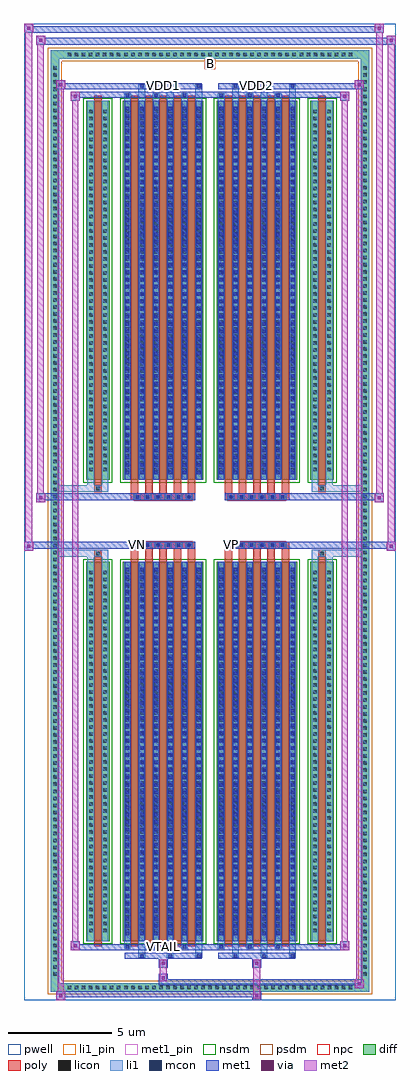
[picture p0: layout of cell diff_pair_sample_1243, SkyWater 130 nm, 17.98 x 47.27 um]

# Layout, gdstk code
import gdstk
lib = gdstk.Library(unit=1e-6, precision=5e-09)
def R(c, l, rs):  # rectangles x0, y0, x1, y1
    for r in rs: c.add(gdstk.rectangle(r[:2], r[2:], *l))
def A(c, l, x, y, w, h, nx, ny, dx, dy):  # array of equal rectangles
    R(c, l, [(x+i*dx, y+j*dy, x+i*dx+w, y+j*dy+h) for i in range(nx) for j in range(ny)])
def P(c, l, *ps):  # polygons
    for p in ps: c.add(gdstk.Polygon(p, *l))
pwell = (64, 44)
diff = (65, 20)
poly = (66, 20)
licon = (66, 44)
li1_pin = (67, 16)
li1 = (67, 20)
mcon = (67, 44)
met1_pin = (68, 16)
met1 = (68, 20)
via = (68, 44)
met2 = (69, 20)
nsdm = (93, 44)
psdm = (94, 20)
npc = (95, 20)

diff_pair_sample_1243 = lib.new_cell('diff_pair_sample_1243')
R(diff_pair_sample_1243, pwell, [(-8.99,-23.2,8.99,24.07), (-6.31,-21.39,-0.01,-0.805), (0.01,-21.39,6.31,-0.805), (-6.31,0.805,-0.01,21.39), (0.01,0.805,6.31,21.39)])
A(diff_pair_sample_1243, diff, -7.005, -22.8, 0.41, 0.41, 41, 2, 0.34, 45.19)
A(diff_pair_sample_1243, diff, -7.72, -22.135, 0.41, 0.41, 1, 130, 0, 0.34)
A(diff_pair_sample_1243, diff, 7.31, -22.135, 0.41, 0.41, 1, 130, 0, 0.34)
R(diff_pair_sample_1243, diff, [(-7.005,-22.8,7.005,-22.39), (-7.72,-22.135,-7.31,22.135), (7.31,-22.135,7.72,22.135), (-6,-20.345,-4.86,-1.985), (-4.22,-20.345,-0.32,-1.985), (0.32,-20.345,4.22,-1.985), (4.86,-20.345,6,-1.985), (-6,1.985,-4.86,20.345), (-4.22,1.985,-0.32,20.345), (0.32,1.985,4.22,20.345), (4.86,1.985,6,20.345), (-7.005,22.39,7.005,22.8)])
P(diff_pair_sample_1243, diff, [(7.72,22.8),(-7.72,22.8),(-7.72,-22.39),(-7.31,-22.39),(-7.31,22.39),(7.31,22.39),(7.31,-22.39),(-7.31,-22.39),(-7.72,-22.39),(-7.72,-22.8),(7.72,-22.8)])
A(diff_pair_sample_1243, poly, -3.83, -20.595, 0.36, 18.86, 5, 2, 0.69, 22.33)
A(diff_pair_sample_1243, poly, 0.71, -20.595, 0.36, 18.86, 5, 2, 0.69, 22.33)
A(diff_pair_sample_1243, poly, -3.83, -1.735, 0.36, 0.4, 5, 2, 0.69, 3.07)
A(diff_pair_sample_1243, poly, 0.71, -1.735, 0.36, 0.4, 5, 2, 0.69, 3.07)
A(diff_pair_sample_1243, poly, -3.685, -1.335, 0.33, 0.33, 6, 2, 0.5, 2.34)
A(diff_pair_sample_1243, poly, 0.855, -1.335, 0.33, 0.33, 6, 2, 0.5, 2.34)
R(diff_pair_sample_1243, poly, [(-5.61,-20.595,-5.25,-1.735), (5.25,-20.595,5.61,-1.735), (-5.595,-1.735,-5.265,-1.405), (-5.595,-1.735,-5.265,-1.405), (5.265,-1.735,5.595,-1.405), (5.265,-1.735,5.595,-1.405), (-3.83,-1.335,-0.71,-1.005), (0.71,-1.335,3.83,-1.005), (-3.83,1.005,-0.71,1.335), (0.71,1.005,3.83,1.335), (-5.595,1.405,-5.265,1.735), (-5.595,1.405,-5.265,1.735), (5.265,1.405,5.595,1.735), (5.265,1.405,5.595,1.735), (-5.61,1.735,-5.25,20.595), (5.25,1.735,5.61,20.595)])
A(diff_pair_sample_1243, licon, -6.885, -22.68, 0.17, 0.17, 41, 2, 0.34, 45.19)
A(diff_pair_sample_1243, licon, -7.6, -22.015, 0.17, 0.17, 1, 130, 0, 0.34)
A(diff_pair_sample_1243, licon, 7.43, -22.015, 0.17, 0.17, 1, 130, 0, 0.34)
A(diff_pair_sample_1243, licon, -5.86, -19.92, 0.17, 0.17, 1, 52, 0, 0.34)
A(diff_pair_sample_1243, licon, -5.17, -19.92, 0.17, 0.17, 1, 52, 0, 0.34)
A(diff_pair_sample_1243, licon, -4.08, -19.92, 0.17, 0.17, 6, 52, 0.69, 0.34)
A(diff_pair_sample_1243, licon, 0.46, -19.92, 0.17, 0.17, 6, 52, 0.69, 0.34)
A(diff_pair_sample_1243, licon, 5, -19.92, 0.17, 0.17, 1, 52, 0, 0.34)
A(diff_pair_sample_1243, licon, 5.69, -19.92, 0.17, 0.17, 1, 52, 0, 0.34)
A(diff_pair_sample_1243, licon, -3.605, -1.255, 0.17, 0.17, 6, 2, 0.5, 2.34)
A(diff_pair_sample_1243, licon, 0.935, -1.255, 0.17, 0.17, 6, 2, 0.5, 2.34)
A(diff_pair_sample_1243, licon, -5.86, 2.41, 0.17, 0.17, 1, 52, 0, 0.34)
A(diff_pair_sample_1243, licon, -5.17, 2.41, 0.17, 0.17, 1, 52, 0, 0.34)
A(diff_pair_sample_1243, licon, -4.08, 2.41, 0.17, 0.17, 6, 52, 0.69, 0.34)
A(diff_pair_sample_1243, licon, 0.46, 2.41, 0.17, 0.17, 6, 52, 0.69, 0.34)
A(diff_pair_sample_1243, licon, 5, 2.41, 0.17, 0.17, 1, 52, 0, 0.34)
A(diff_pair_sample_1243, licon, 5.69, 2.41, 0.17, 0.17, 1, 52, 0, 0.34)
R(diff_pair_sample_1243, licon, [(-5.515,-1.655,-5.345,-1.485), (5.345,-1.655,5.515,-1.485), (-5.515,1.485,-5.345,1.655), (5.345,1.485,5.515,1.655)])
R(diff_pair_sample_1243, li1_pin, [(-0.25,21.89,0.25,22.39)])
A(diff_pair_sample_1243, li1, -6.965, -22.76, 0.33, 0.33, 41, 2, 0.34, 45.19)
A(diff_pair_sample_1243, li1, -7.68, -22.095, 0.33, 0.33, 1, 130, 0, 0.34)
A(diff_pair_sample_1243, li1, 7.35, -22.095, 0.33, 0.33, 1, 130, 0, 0.34)
A(diff_pair_sample_1243, li1, -3.47, -21.15, 0.33, 0.805, 3, 2, 1.38, 41.495)
A(diff_pair_sample_1243, li1, -3.39, -21.15, 0.17, 0.17, 3, 2, 1.38, 42.13)
A(diff_pair_sample_1243, li1, 1.07, -21.15, 0.33, 0.805, 3, 2, 1.38, 41.495)
A(diff_pair_sample_1243, li1, 1.15, -21.15, 0.17, 0.17, 3, 2, 1.38, 42.13)
A(diff_pair_sample_1243, li1, -4.16, -20.72, 0.33, 0.375, 3, 2, 1.38, 41.065)
A(diff_pair_sample_1243, li1, -4.08, -20.72, 0.17, 0.17, 3, 2, 1.38, 41.27)
A(diff_pair_sample_1243, li1, 0.38, -20.72, 0.33, 0.375, 3, 2, 1.38, 41.065)
A(diff_pair_sample_1243, li1, 0.46, -20.72, 0.17, 0.17, 3, 2, 1.38, 41.27)
A(diff_pair_sample_1243, li1, -4.16, -20.345, 0.33, 18.36, 6, 2, 0.69, 22.33)
A(diff_pair_sample_1243, li1, 0.38, -20.345, 0.33, 18.36, 6, 2, 0.69, 22.33)
A(diff_pair_sample_1243, li1, -4.08, -20.07, 0.17, 0.17, 6, 50, 0.69, 0.36)
A(diff_pair_sample_1243, li1, -4.08, -20.07, 0.17, 17.81, 6, 2, 0.69, 22.33)
A(diff_pair_sample_1243, li1, 0.46, -20.07, 0.17, 0.17, 6, 50, 0.69, 0.36)
A(diff_pair_sample_1243, li1, 0.46, -20.07, 0.17, 17.81, 6, 2, 0.69, 22.33)
A(diff_pair_sample_1243, li1, -5.94, -20, 0.33, 0.33, 1, 52, 0, 0.34)
A(diff_pair_sample_1243, li1, -5.25, -20, 0.33, 0.33, 1, 52, 0, 0.34)
A(diff_pair_sample_1243, li1, -4.16, -20, 0.33, 0.33, 6, 52, 0.69, 0.34)
A(diff_pair_sample_1243, li1, 0.38, -20, 0.33, 0.33, 6, 52, 0.69, 0.34)
A(diff_pair_sample_1243, li1, 4.92, -20, 0.33, 0.33, 1, 52, 0, 0.34)
A(diff_pair_sample_1243, li1, 5.61, -20, 0.33, 0.33, 1, 52, 0, 0.34)
A(diff_pair_sample_1243, li1, -3.685, -1.335, 0.33, 0.33, 6, 2, 0.5, 2.34)
A(diff_pair_sample_1243, li1, 0.855, -1.335, 0.33, 0.33, 6, 2, 0.5, 2.34)
A(diff_pair_sample_1243, li1, -4.08, 2.26, 0.17, 0.17, 6, 50, 0.69, 0.36)
A(diff_pair_sample_1243, li1, 0.46, 2.26, 0.17, 0.17, 6, 50, 0.69, 0.36)
A(diff_pair_sample_1243, li1, -5.94, 2.33, 0.33, 0.33, 1, 52, 0, 0.34)
A(diff_pair_sample_1243, li1, -5.25, 2.33, 0.33, 0.33, 1, 52, 0, 0.34)
A(diff_pair_sample_1243, li1, -4.16, 2.33, 0.33, 0.33, 6, 52, 0.69, 0.34)
A(diff_pair_sample_1243, li1, 0.38, 2.33, 0.33, 0.33, 6, 52, 0.69, 0.34)
A(diff_pair_sample_1243, li1, 4.92, 2.33, 0.33, 0.33, 1, 52, 0, 0.34)
A(diff_pair_sample_1243, li1, 5.61, 2.33, 0.33, 0.33, 1, 52, 0, 0.34)
R(diff_pair_sample_1243, li1, [(-7.72,-22.8,-7.31,-22.39), (-7.72,-22.8,-7.31,-22.39), (-7.31,-22.8,7.31,-22.39), (7.31,-22.8,7.72,-22.39), (7.31,-22.8,7.72,-22.39), (-7.72,-22.39,-7.31,22.39), (7.31,-22.39,7.72,22.39), (-5.94,-20.345,-5.61,-1.985), (-5.25,-20.345,-4.92,-1.985), (4.92,-20.345,5.25,-1.985), (5.61,-20.345,5.94,-1.985), (-5.94,-1.985,-5.61,-1.405), (-5.25,-1.985,-4.92,-1.405), (4.92,-1.985,5.25,-1.405), (5.61,-1.985,5.94,-1.405), (-7.72,-1.735,-5.595,-1.405), (-5.94,-1.735,-5.595,-1.405), (-5.595,-1.735,-5.265,-1.405), (-5.265,-1.735,-4.92,-1.405), (4.92,-1.735,5.265,-1.405), (5.265,-1.735,5.595,-1.405), (5.265,-1.735,7.72,-1.405), (5.595,-1.735,5.94,-1.405), (-7.72,1.405,-5.595,1.735), (-5.94,1.405,-5.595,1.735), (-5.94,1.405,-5.61,1.985), (-5.595,1.405,-5.265,1.735), (-5.265,1.405,-4.92,1.735), (-5.25,1.405,-4.92,1.985), (4.92,1.405,5.265,1.735), (4.92,1.405,5.25,1.985), (5.265,1.405,5.595,1.735), (5.265,1.405,7.72,1.735), (5.595,1.405,5.94,1.735), (5.61,1.405,5.94,1.985), (-5.94,1.985,-5.61,20.345), (-5.25,1.985,-4.92,20.345), (4.92,1.985,5.25,20.345), (5.61,1.985,5.94,20.345), (-7.72,22.39,-7.31,22.8), (-7.72,22.39,-7.31,22.8), (-7.31,22.39,7.31,22.8), (7.31,22.39,7.72,22.8), (7.31,22.39,7.72,22.8)])
A(diff_pair_sample_1243, mcon, -3.39, -21.15, 0.17, 0.17, 3, 2, 1.38, 42.13)
A(diff_pair_sample_1243, mcon, 1.15, -21.15, 0.17, 0.17, 3, 2, 1.38, 42.13)
A(diff_pair_sample_1243, mcon, -4.08, -20.72, 0.17, 0.17, 3, 2, 1.38, 41.27)
A(diff_pair_sample_1243, mcon, 0.46, -20.72, 0.17, 0.17, 3, 2, 1.38, 41.27)
A(diff_pair_sample_1243, mcon, -4.08, -20.07, 0.17, 0.17, 6, 50, 0.69, 0.36)
A(diff_pair_sample_1243, mcon, 0.46, -20.07, 0.17, 0.17, 6, 50, 0.69, 0.36)
A(diff_pair_sample_1243, mcon, -3.605, -1.255, 0.17, 0.17, 6, 2, 0.5, 2.34)
A(diff_pair_sample_1243, mcon, 0.935, -1.255, 0.17, 0.17, 6, 2, 0.5, 2.34)
A(diff_pair_sample_1243, mcon, -4.08, 2.26, 0.17, 0.17, 6, 50, 0.69, 0.36)
A(diff_pair_sample_1243, mcon, 0.46, 2.26, 0.17, 0.17, 6, 50, 0.69, 0.36)
R(diff_pair_sample_1243, met1_pin, [(-2.405,-20.76,-2.135,-20.49), (-3.655,-1.295,-3.385,-1.025), (0.885,-1.295,1.155,-1.025), (-2.405,20.94,-2.135,21.21), (2.135,20.94,2.405,21.21)])
A(diff_pair_sample_1243, met1, -3.45, -21.21, 0.29, 0.29, 3, 2, 1.38, 42.13)
A(diff_pair_sample_1243, met1, 1.09, -21.21, 0.29, 0.29, 3, 2, 1.38, 42.13)
A(diff_pair_sample_1243, met1, -4.14, -20.78, 0.29, 0.29, 3, 2, 1.38, 41.27)
A(diff_pair_sample_1243, met1, 0.4, -20.78, 0.29, 0.29, 3, 2, 1.38, 41.27)
A(diff_pair_sample_1243, met1, -4.14, -20.345, 0.29, 18.36, 6, 2, 0.69, 22.33)
A(diff_pair_sample_1243, met1, 0.4, -20.345, 0.29, 18.36, 6, 2, 0.69, 22.33)
A(diff_pair_sample_1243, met1, -4.14, -20.13, 0.29, 0.29, 6, 50, 0.69, 0.36)
A(diff_pair_sample_1243, met1, 0.4, -20.13, 0.29, 0.29, 6, 50, 0.69, 0.36)
A(diff_pair_sample_1243, met1, -3.665, -1.315, 0.29, 0.29, 6, 2, 0.5, 2.34)
A(diff_pair_sample_1243, met1, 0.875, -1.315, 0.29, 0.29, 6, 2, 0.5, 2.34)
A(diff_pair_sample_1243, met1, -4.14, 2.2, 0.29, 0.29, 6, 50, 0.69, 0.36)
A(diff_pair_sample_1243, met1, 0.4, 2.2, 0.29, 0.29, 6, 50, 0.69, 0.36)
R(diff_pair_sample_1243, met1, [(-7.45,-23.2,-7.02,-22.77), (2.055,-23.2,2.485,-22.77), (-7.45,-23.06,2.485,-22.77), (7.02,-22.63,7.45,-22.2), (-2.485,-22.49,7.45,-22.2), (-2.485,-22.35,-2.055,-21.92), (-2.485,-21.64,-2.055,-21.21), (2.055,-21.64,2.485,-21.21), (-4.14,-21.21,-0.4,-20.92), (0.4,-21.21,4.14,-20.92), (-6.74,-20.78,-6.31,-20.35), (-6.74,-20.78,-4.14,-20.49), (-4.14,-20.78,-0.4,-20.49), (-0.4,-20.78,0.4,-20.49), (0.4,-20.78,4.14,-20.49), (4.14,-20.78,6.74,-20.49), (6.31,-20.78,6.74,-20.35), (-8.99,-1.435,-8.56,-1.005), (8.56,-1.435,8.99,-1.005), (-8.99,-1.335,-0.71,-1.005), (-3.83,-1.335,-0.71,-1.005), (0.71,-1.335,3.83,-1.005), (0.71,-1.335,8.99,-1.005), (-8.42,0.905,-7.99,1.335), (7.99,0.905,8.42,1.335), (-8.42,1.005,-3.83,1.335), (-3.83,1.005,-0.71,1.335), (0.71,1.005,3.83,1.335), (3.83,1.005,8.42,1.335), (-6.74,20.35,-6.31,20.78), (6.31,20.35,6.74,20.78), (-6.74,20.49,-4.14,20.78), (-4.14,20.49,-0.4,20.78), (-0.4,20.49,0.4,20.78), (0.4,20.49,4.14,20.78), (4.14,20.49,6.74,20.78), (-7.45,20.92,-7.02,21.35), (-7.45,20.92,-4.14,21.21), (-4.14,20.92,-0.4,21.21), (0.4,20.92,4.14,21.21), (4.14,20.92,7.45,21.21), (7.02,20.92,7.45,21.35), (-8.42,23.07,-7.99,23.5), (-8.42,23.07,-6.31,23.4), (-6.31,23.07,6.31,23.4), (6.31,23.07,8.99,23.4), (8.56,23.07,8.99,23.5), (-8.99,23.64,-8.56,24.07), (-8.99,23.64,-6.31,23.97), (-6.31,23.64,6.31,23.97), (6.31,23.64,8.42,23.97), (7.99,23.64,8.42,24.07)])
R(diff_pair_sample_1243, via, [(-7.31,-23.06,-7.16,-22.91), (2.195,-23.06,2.345,-22.91), (7.16,-22.49,7.31,-22.34), (-2.345,-22.21,-2.195,-22.06), (-2.345,-21.5,-2.195,-21.35), (2.195,-21.5,2.345,-21.35), (-6.6,-20.64,-6.45,-20.49), (6.45,-20.64,6.6,-20.49), (-8.85,-1.295,-8.7,-1.145), (8.7,-1.295,8.85,-1.145), (-8.28,1.045,-8.13,1.195), (8.13,1.045,8.28,1.195), (-6.6,20.49,-6.45,20.64), (6.45,20.49,6.6,20.64), (-7.31,21.06,-7.16,21.21), (7.16,21.06,7.31,21.21), (-8.28,23.21,-8.13,23.36), (8.7,23.21,8.85,23.36), (-8.85,23.78,-8.7,23.93), (8.13,23.78,8.28,23.93)])
R(diff_pair_sample_1243, met2, [(-7.45,-23.2,-7.02,-22.77), (-7.38,-23.2,-7.09,21.35), (-7.09,-23.2,-7.02,-22.77), (-7.4,-23.15,-7.07,-22.82), (2.105,-23.15,2.435,-22.82), (2.105,-22.82,2.435,-21.59), (7.02,-22.63,7.45,-22.2), (7.09,-22.63,7.38,21.35), (7.38,-22.63,7.45,-22.2), (7.07,-22.58,7.4,-22.25), (-2.435,-22.3,-2.105,-21.97), (-2.435,-21.97,-2.105,-21.59), (-2.435,-21.59,-2.105,-21.26), (2.105,-21.59,2.435,-21.26), (-6.74,-20.78,-6.31,-20.35), (-6.67,-20.78,-6.38,20.78), (-6.38,-20.78,-6.31,-20.35), (6.31,-20.78,6.74,-20.35), (6.38,-20.78,6.67,20.78), (6.67,-20.78,6.74,-20.35), (-6.69,-20.73,-6.36,-20.4), (6.36,-20.73,6.69,-20.4), (-8.99,-1.435,-8.56,-1.005), (-8.94,-1.435,-8.61,24.07), (-8.61,-1.435,-8.56,-1.005), (8.56,-1.435,8.99,-1.005), (8.61,-1.435,8.94,23.5), (8.94,-1.435,8.99,-1.005), (-8.94,-1.385,-8.61,-1.055), (8.61,-1.385,8.94,-1.055), (-8.42,0.905,-7.99,1.335), (-8.37,0.905,-8.04,23.5), (-8.04,0.905,-7.99,1.335), (7.99,0.905,8.42,1.335), (8.04,0.905,8.37,24.07), (8.37,0.905,8.42,1.335), (-8.37,0.955,-8.04,1.285), (8.04,0.955,8.37,1.285), (-6.74,20.35,-6.31,20.78), (-6.38,20.35,-6.31,20.78), (6.31,20.35,6.74,20.78), (6.67,20.35,6.74,20.78), (-6.69,20.4,-6.36,20.73), (6.36,20.4,6.69,20.73), (-7.45,20.92,-7.02,21.35), (-7.09,20.92,-7.02,21.35), (7.02,20.92,7.45,21.35), (7.38,20.92,7.45,21.35), (-7.4,20.97,-7.07,21.3), (7.07,20.97,7.4,21.3), (-8.42,23.07,-7.99,23.5), (-8.04,23.07,-7.99,23.5), (8.56,23.07,8.99,23.5), (8.94,23.07,8.99,23.5), (-8.37,23.12,-8.04,23.45), (8.61,23.12,8.94,23.45), (-8.99,23.64,-8.56,24.07), (-8.61,23.64,-8.56,24.07), (7.99,23.64,8.42,24.07), (8.37,23.64,8.42,24.07), (-8.94,23.69,-8.61,24.02), (8.04,23.69,8.37,24.02)])
R(diff_pair_sample_1243, nsdm, [(-6.13,-20.475,-4.73,-1.855), (-4.35,-20.475,-0.19,-1.855), (0.19,-20.475,4.35,-1.855), (4.73,-20.475,6.13,-1.855), (-6.13,1.855,-4.73,20.475), (-4.35,1.855,-0.19,20.475), (0.19,1.855,4.35,20.475), (4.73,1.855,6.13,20.475)])
P(diff_pair_sample_1243, psdm, [(7.85,22.93),(-7.85,22.93),(-7.85,-22.26),(-7.18,-22.26),(-7.18,22.26),(7.18,22.26),(7.18,-22.26),(-7.18,-22.26),(-7.85,-22.26),(-7.85,-22.93),(7.85,-22.93)])
A(diff_pair_sample_1243, npc, -3.705, -1.355, 0.37, 0.37, 6, 2, 0.5, 2.34)
A(diff_pair_sample_1243, npc, 0.835, -1.355, 0.37, 0.37, 6, 2, 0.5, 2.34)
R(diff_pair_sample_1243, npc, [(-5.615,-1.755,-5.245,-1.385), (5.245,-1.755,5.615,-1.385), (-3.705,-1.355,-2.835,-0.985), (-3.705,-1.355,-2.835,-0.985), (-3.205,-1.355,-2.335,-0.985), (-3.205,-1.355,-2.335,-0.985), (-2.705,-1.355,-1.835,-0.985), (-2.705,-1.355,-1.835,-0.985), (-2.205,-1.355,-1.335,-0.985), (-2.205,-1.355,-1.335,-0.985), (-1.705,-1.355,-0.835,-0.985), (-1.705,-1.355,-0.835,-0.985), (0.835,-1.355,1.705,-0.985), (0.835,-1.355,1.705,-0.985), (1.335,-1.355,2.205,-0.985), (1.335,-1.355,2.205,-0.985), (1.835,-1.355,2.705,-0.985), (1.835,-1.355,2.705,-0.985), (2.335,-1.355,3.205,-0.985), (2.335,-1.355,3.205,-0.985), (2.835,-1.355,3.705,-0.985), (2.835,-1.355,3.705,-0.985), (-3.705,0.985,-2.835,1.355), (-3.705,0.985,-2.835,1.355), (-3.205,0.985,-2.335,1.355), (-3.205,0.985,-2.335,1.355), (-2.705,0.985,-1.835,1.355), (-2.705,0.985,-1.835,1.355), (-2.205,0.985,-1.335,1.355), (-2.205,0.985,-1.335,1.355), (-1.705,0.985,-0.835,1.355), (-1.705,0.985,-0.835,1.355), (0.835,0.985,1.705,1.355), (0.835,0.985,1.705,1.355), (1.335,0.985,2.205,1.355), (1.335,0.985,2.205,1.355), (1.835,0.985,2.705,1.355), (1.835,0.985,2.705,1.355), (2.335,0.985,3.205,1.355), (2.335,0.985,3.205,1.355), (2.835,0.985,3.705,1.355), (2.835,0.985,3.705,1.355), (-5.615,1.385,-5.245,1.755), (5.245,1.385,5.615,1.755)])
diff_pair_sample_1243.add(gdstk.Label('VTAIL', (-2.27,-20.625), layer=68, texttype=5))
diff_pair_sample_1243.add(gdstk.Label('VN', (-3.52,-1.16), layer=68, texttype=5))
diff_pair_sample_1243.add(gdstk.Label('VP', (1.02,-1.16), layer=68, texttype=5))
diff_pair_sample_1243.add(gdstk.Label('B', (0,22.14), layer=67, texttype=5))
diff_pair_sample_1243.add(gdstk.Label('VDD2', (2.27,21.075), layer=68, texttype=5))
diff_pair_sample_1243.add(gdstk.Label('VDD1', (-2.27,21.075), layer=68, texttype=5))

lib.write_gds('diff_pair_sample_1243.gds')
